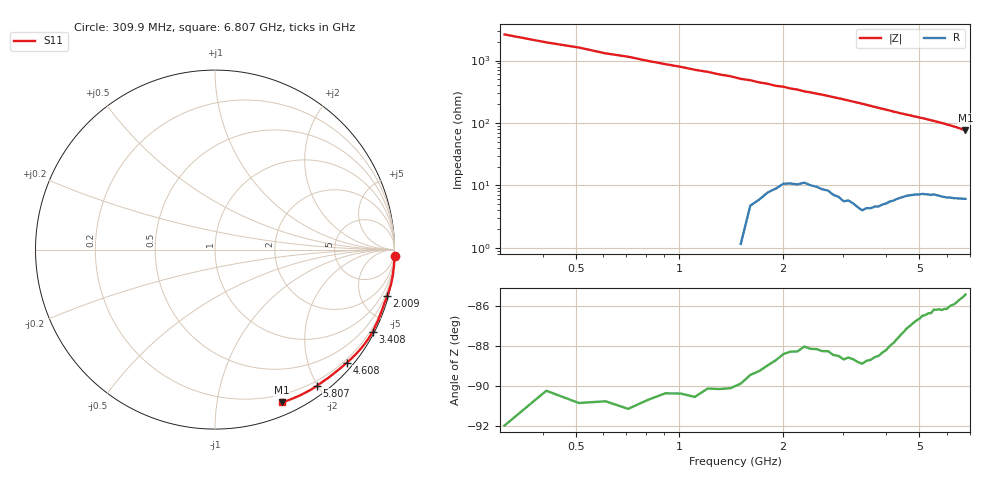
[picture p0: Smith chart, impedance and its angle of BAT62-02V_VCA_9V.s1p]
! Infineon Technologies  Discrete & RF Semiconductors
! BAT62-02V
! VCA = 9 V
! One-Port S-Parameters
# Hz  S  MA  R  50
!f  S11
!Hz  Mag  Ang
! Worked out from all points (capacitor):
!   66 points, 309.9 MHz to 6.807 GHz, reference 50 ohm
!   read as one part to ground: C = 196 fF near 309.9 MHz
!   lowest |Z| = 76.4 ohm at 6.807 GHz (marker M1)
!   S11 on the Smith chart (normalised r, x): 309.9 MHz: -2, -52; 2.009 GHz: 0.21, -7.60; 3.408 GHz: 0.08, -4.06; 4.608 GHz: 0.14, -2.69; 5.807 GHz: 0.13, -1.99; 6.807 GHz: 0.12, -1.52
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3.0985e8  1.001 -2.2
6.097e8  1.001 -4.4
7.0965e8  1.002 -5.0
1.10945e9  1.001 -8.1
1.2094e9  1 -8.7
1.4093e9  1 -10.2
1.50925e9  0.9996 -11.2
1.6092e9  0.998 -11.8
1.70915e9  0.9971 -12.8
1.8091e9  0.9958 -13.5
1.90905e9  0.9944 -14.5
2.009e9  0.9928 -15.0
2.10895e9  0.9918 -16.0
2.2089e9  0.9914 -16.6
2.30885e9  0.9896 -17.7
2.6087e9  0.9896 -20.0
2.8086e9  0.99 -21.8
3.0085e9  0.9907 -23.7
3.4083e9  0.991 -27.7
3.6082e9  0.9887 -29.9
4.008e9  0.9824 -34.2
4.4078e9  0.9727 -38.6
4.6077e9  0.9676 -40.6
5.2074e9  0.9562 -46.5
5.8071e9  0.9484 -53.2
6.007e9  0.9461 -55.6
6.4068e9  0.9386 -60.7
6.8066e9  0.9297 -66.4
